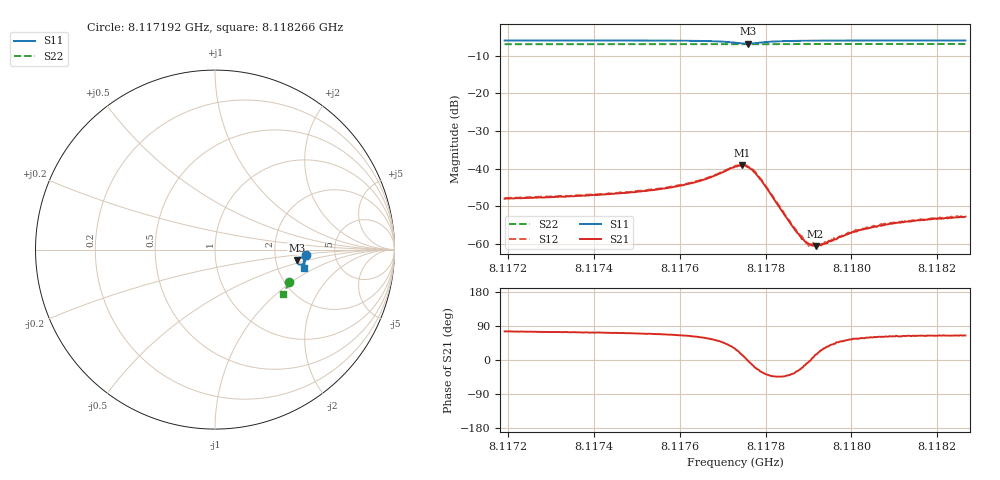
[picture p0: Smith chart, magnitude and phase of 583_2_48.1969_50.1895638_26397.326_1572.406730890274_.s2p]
#  HZ  S  RI  R  50.00
! Rohde & Schwarz Vector Network Analyzer
! Rohde-Schwarz,ZNB20-2Port,1311601062101988,3.16
! Created: UTC 3/20/2024, 12:02:11 PM
! freq[Hz]  re:S11  im:S11  re:S21  im:S21  re:S12  im:S12  re:S22  im:S22
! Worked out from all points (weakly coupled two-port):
!   401 points, 8.117192 GHz to 8.118266 GHz, reference 50 ohm
!   highest |S21| = -39.07 dB at 8.117745 GHz (marker M1); lowest = -60.6 dB at 8.117917 GHz (marker M2)
!   lowest |S11| = -6.8 dB at 8.117758 GHz (marker M3), VSWR 2.70, Z = 131 - j20.1 ohm
!   |S11| at or under -10 dB: nowhere
!   |S22| runs from -6.9 to -6.8 dB; largest |S21 - S12| = 0.00043
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8.1171916e9  0.5058 -0.0302  0.000994 0.00385  0.00105 0.00393  0.4141 -0.1812
8.1173715e9  0.5041 -0.0452  0.00132 0.00419  0.00134 0.0042  0.4095 -0.1928
8.1174843e9  0.5022 -0.0555  0.0016 0.00456  0.00166 0.0046  0.4061 -0.2001
8.1175514e9  0.5006 -0.0626  0.00196 0.00496  0.00205 0.00505  0.4042 -0.2044
8.11764e9  0.4948 -0.0742  0.00323 0.00586  0.00333 0.00599  0.4012 -0.2102
8.1176749e9  0.4889 -0.0801  0.00448 0.00637  0.00459 0.00646  0.3999 -0.2126
8.1177286e9  0.4659 -0.0819  0.00928 0.00529  0.00945 0.00522  0.3974 -0.2154
8.1177447e9  0.4571 -0.0728  0.0108 0.0027  0.0109 0.00271  0.3966 -0.2161
8.1177581e9  0.4556 -0.0603  0.0105 -0.000261  0.0107 -0.000187  0.3961 -0.2163
8.1177716e9  0.4612 -0.0496  0.00886 -0.00246  0.00916 -0.00261  0.3962 -0.2165
8.1177931e9  0.4761 -0.0434  0.00548 -0.00362  0.00557 -0.00374  0.3964 -0.2177
8.1178494e9  0.4949 -0.0548  0.00166 -0.00144  0.00167 -0.00154  0.3954 -0.2218
8.1178763e9  0.4974 -0.0604  0.00121 -0.000638  0.00116 -0.000651  0.3946 -0.2238
8.1178897e9  0.498 -0.0626  0.00108 -0.000284  0.00113 -0.000271  0.3941 -0.2247
8.1179005e9  0.4983 -0.0646  0.001 -8.72e-05  0.000934 -4.49e-05  0.3938 -0.2254
8.1179085e9  0.4986 -0.0657  0.000943 8.36e-05  0.000981 4.6e-05  0.3935 -0.226
8.1179166e9  0.4988 -0.0668  0.000908 0.00023  0.000944 0.000244  0.3933 -0.2265
8.1179273e9  0.4988 -0.0683  0.00088 0.000394  0.000912 0.000358  0.393 -0.2272
8.1180052e9  0.4989 -0.0777  0.0008 0.0012  0.000808 0.00121  0.3904 -0.2321
8.1180884e9  0.4981 -0.0859  0.000838 0.00163  0.000884 0.00163  0.3875 -0.2374
8.1181582e9  0.4972 -0.092  0.000892 0.00184  0.000942 0.00187  0.3851 -0.2417
8.1182657e9  0.4956 -0.1009  0.000978 0.00208  0.00102 0.00213  0.3815 -0.2481
